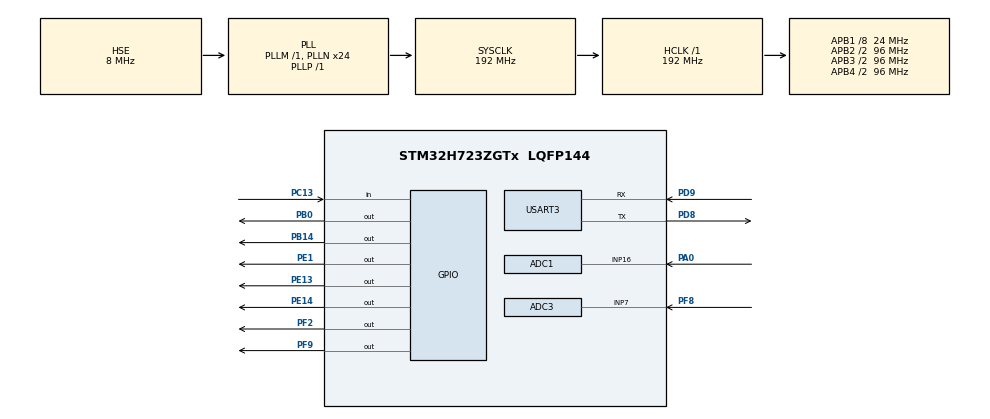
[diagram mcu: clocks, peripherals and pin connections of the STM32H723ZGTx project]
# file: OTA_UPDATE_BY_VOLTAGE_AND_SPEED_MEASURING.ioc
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ADC1.Channel-0\#ChannelRegularConversion=ADC_CHANNEL_16
ADC1.NbrOfConversionFlag=1
ADC1.OffsetNumber-0\#ChannelRegularConversion=ADC_OFFSET_NONE
ADC1.OffsetSignedSaturation-0\#ChannelRegularConversion=DISABLE
ADC1.Rank-0\#ChannelRegularConversion=1
ADC1.Resolution=ADC_RESOLUTION_12B
ADC1.SamplingTime-0\#ChannelRegularConversion=ADC_SAMPLETIME_64CYCLES_5
ADC1.master=1
ADC3.Channel-1\#ChannelRegularConversion=ADC_CHANNEL_VREFINT
ADC3.NbrOfConversionFlag=1
ADC3.OffsetNumber-1\#ChannelRegularConversion=ADC_OFFSET_NONE
ADC3.OffsetSign-1\#ChannelRegularConversion=ADC3_OFFSET_SIGN_NEGATIVE
ADC3.Rank-1\#ChannelRegularConversion=1
ADC3.SamplingTime-1\#ChannelRegularConversion=ADC3_SAMPLETIME_2CYCLES_5
CORTEX_M7.default_mode_Activation=1
Mcu.Family=STM32H7
Mcu.Name=STM32H723ZGTx
Mcu.Package=LQFP144
NUCLEO-H723ZG.BUTTON=1
NUCLEO-H723ZG.LD1=true
NUCLEO-H723ZG.LD2=true
NUCLEO-H723ZG.LD3=true
NVIC.EXTI15_10_IRQn=true\:0\:0\:false\:false\:true\:false\:true\:true
NVIC.PriorityGroup=NVIC_PRIORITYGROUP_4
NVIC.USART3_IRQn=true\:0\:0\:false\:false\:true\:true\:true\:true
PA0.Mode=IN16-Single-Ended
PA0.Signal=ADC1_INP16
PA13(JTMS/SWDIO).GPIO_Label=SWDIO
PA13(JTMS/SWDIO).Signal=DEBUG_JTMS-SWDIO
PA14(JTCK/SWCLK).GPIO_Label=SWCLK
PA14(JTCK/SWCLK).Signal=DEBUG_JTCK-SWCLK
PB0.Signal=GPIO_Output
PB14.Signal=GPIO_Output
PC13.Signal=GPIO_Input
PC14-OSC32_IN.Signal=RCC_OSC32_IN
PC15-OSC32_OUT.Signal=RCC_OSC32_OUT
PD8.GPIO_PuPd=GPIO_PULLUP
PD8.GPIO_Speed=GPIO_SPEED_FREQ_VERY_HIGH
PD8.Mode=Asynchronous
PD8.Signal=USART3_TX
PD9.GPIO_PuPd=GPIO_PULLUP
PD9.GPIO_Speed=GPIO_SPEED_FREQ_VERY_HIGH
PD9.Mode=Asynchronous
PD9.Signal=USART3_RX
PE1.Signal=GPIO_Output
PE13.Signal=GPIO_Output
PE14.Signal=GPIO_Output
PF2.Signal=GPIO_Output
PF8.Mode=IN7-Single-Ended
PF8.Signal=ADC3_INP7
PF9.Signal=GPIO_Output
PG11.Signal=ETH_TX_EN
PG13.Signal=ETH_TXD0
PH0-OSC_IN.Mode=HSE-External-Oscillator
PH0-OSC_IN.Signal=RCC_OSC_IN
PH1-OSC_OUT.Mode=HSE-External-Oscillator
PH1-OSC_OUT.Signal=RCC_OSC_OUT
ProjectManager.HeapSize=0x200
ProjectManager.StackSize=0x400
ProjectManager.TargetToolchain=STM32CubeIDE
RCC.ADCFreq_Value=38400000
RCC.APB1Freq_Value=24000000
RCC.APB2Freq_Value=96000000
RCC.APB3Freq_Value=96000000
RCC.APB4Freq_Value=96000000
RCC.CortexFreq_Value=192000000
RCC.D1PPRE=RCC_APB3_DIV2
RCC.D2PPRE1=RCC_APB1_DIV8
RCC.D2PPRE2=RCC_APB2_DIV2
RCC.D3PPRE=RCC_APB4_DIV2
RCC.DIVM1=1
RCC.DIVM2=1
RCC.DIVN1=24
RCC.DIVN2=24
RCC.DIVP1=1
RCC.DIVP2=5
RCC.DIVQ1=4
RCC.EnbaleCSS=true
RCC.HCLKFreq_Value=192000000
RCC.HSE_VALUE=8000000
RCC.PLL2FRACN=0
RCC.PLLFRACN=0
RCC.PLLSourceVirtual=RCC_PLLSOURCE_HSE
RCC.SYSCLKFreq_VALUE=192000000
RCC.SYSCLKSource=RCC_SYSCLKSOURCE_PLLCLK
RCC.USBCLockSelection=RCC_USBCLKSOURCE_HSI48
RCC.USBFreq_Value=48000000
USART3.VirtualMode-Asynchronous=VM_ASYNC
VP_ADC3_Vref_Input.Mode=IN-Vrefint
VP_MEMORYMAP_VS_MEMORYMAP.Mode=CurAppReg
VP_NUCLEO-H723ZG_VS_BSP_COMMON.Mode=COMMON
board=NUCLEO-H723ZG

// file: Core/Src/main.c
/* USER CODE BEGIN Header */
/**
  ******************************************************************************
  * @file           : main.c
  * @brief          : Main program body
  ******************************************************************************
  * @attention
  *
  * Copyright (c) 2026 STMicroelectronics.
  * All rights reserved.
  *
  * This software is licensed under terms that can be found in the LICENSE file
  * in the root directory of this software component.
  * If no LICENSE file comes with this software, it is provided AS-IS.
  *
  ******************************************************************************
  */
/* USER CODE END Header */
#include "main.h"

/* USER CODE BEGIN Includes */
#include <stdio.h>
#include <string.h>

#include "feature_engine.h"
#include "nvm_lite.h"
#include "motor_driver.h"
#include "window_controller.h"
/* USER CODE END Includes */

ADC_HandleTypeDef hadc1;
ADC_HandleTypeDef hadc3;

UART_HandleTypeDef huart3;

/* USER CODE BEGIN PV */
static uint32_t last_tick_ms = 0;

/* Safer UART receive buffers */
#define RX_BUF_SIZE 128
uint8_t  rx_buf[RX_BUF_SIZE];
uint16_t rx_idx = 0;
uint8_t  uart_rx_byte;
volatile uint8_t frame_active = 0; // Inside a '<...>' frame?
volatile uint8_t frame_ready  = 0; // A full frame was received

/* USER CODE END PV */

void SystemClock_Config(void);
void PeriphCommonClock_Config(void);
static void MPU_Config(void);
static void MX_GPIO_Init(void);
static void MX_ADC3_Init(void);
static void MX_USART3_UART_Init(void);
static void MX_ADC1_Init(void);

/* USER CODE BEGIN 0 */
/* === Feature enable handler ===*/
static feat_status_t on_antipinch_enable(const char *nonce, const char *rawName)
{
    (void)nonce; (void)rawName;

    /* 1) Mark runtime state */
    feature_mark_enabled_once_ci("ANTIPINCH");

    /* 2) Read latest record (ok if none) */
    nvm_record_t rec = {0};
    (void)nvm_read_latest(&rec);
    rec.feature_flags |= FEAT_ANTIPINCH_EN;

    /* 3) Persist to Flash */
    if (nvm_write(&rec) != HAL_OK) {
        const char *e = "NVM write failed\r\n";
        HAL_UART_Transmit(&huart3, (uint8_t*)e, strlen(e), 50);
        return FEAT_ERR;
    }

    const char *ok = "ANTIPINCH enabled (persisted)\r\n";
    HAL_UART_Transmit(&huart3, (uint8_t*)ok, strlen(ok), 50);

    return FEAT_OK;
}

static void restore_features_from_flash(void)
{
    if (nvm_init() != HAL_OK) {
        const char *e = "NVM init failed\r\n";
        HAL_UART_Transmit(&huart3, (uint8_t*)e, strlen(e), 50);
        return;
    }

    nvm_record_t rec = {0};
    if (nvm_read_latest(&rec) && (rec.feature_flags & FEAT_ANTIPINCH_EN)) {
        feature_mark_enabled_once_ci("ANTIPINCH");
        const char *m = "ANTIPINCH restored from Flash\r\n";
        HAL_UART_Transmit(&huart3, (uint8_t*)m, strlen(m), 50);
    } else {
        const char *m = "ANTIPINCH not set in Flash\r\n";
        HAL_UART_Transmit(&huart3, (uint8_t*)m, strlen(m), 50);
    }
}

/* USER CODE END 0 */

int main(void)
{

  /* MPU Configuration--------------------------------------------------------*/
  MPU_Config();

  /* MCU Configuration--------------------------------------------------------*/

  /* Reset of all peripherals, Initializes the Flash interface and the Systick. */
  HAL_Init();

  /* Configure the system clock */
  SystemClock_Config();

  /* Configure the peripherals common clocks */
  PeriphCommonClock_Config();

  /* USER CODE BEGIN SysInit */
  /* Initialize the feature engine */
  feature_engine_init();

  /* Register features (Option 2) */
  #if FE_USE_TABLE
  feature_register("ANTIPINCH", on_antipinch_enable);
  /* Accept aliases */
  feature_add_alias("ANTIPINCH", "ANTI-PINCH_WINDOWS");

  /* You can register others and   */
  #endif

  /* USER CODE END SysInit */

  /* Initialize all configured peripherals */
  MX_GPIO_Init();
  MX_ADC3_Init();
  MX_USART3_UART_Init();
  MX_ADC1_Init();
  /* USER CODE BEGIN 2 */
  /* === Modules Init === */
  motor_init();
  window_init();
  /* Restore persisted features */
  restore_features_from_flash();

  HAL_UART_Receive_IT(&huart3, &uart_rx_byte, 1);
  /* USER CODE END 2 */

  /* Initialize leds */
  BSP_LED_Init(LED_GREEN);
  BSP_LED_Init(LED_YELLOW);
  BSP_LED_Init(LED_RED);

  /* Initialize USER push-button, will be used to trigger an interrupt each time it's pressed.*/
  BSP_PB_Init(BUTTON_USER, BUTTON_MODE_EXTI);

  /* Infinite loop */
  /* USER CODE BEGIN WHILE */
  while (1)
  {
	  uint32_t now = HAL_GetTick();
	  if ((now - last_tick_ms) >= 100) {
	      last_tick_ms = now;
	      window_100ms_task();
	  }
	  /* Motor sync task */
	  window_motor_task();

	  if (frame_ready)
	  {
	      frame_ready = 0;

	      BSP_LED_On(LED_YELLOW);

	      char featureId[32] = {0};
	      char nonce[48] = {0};
	      char ack[96] = {0};

	      int parsed = sscanf((char*)rx_buf, "<ACT,%31[^,],%47[^>]>", featureId, nonce);

	      if (parsed == 2)
	      {
	    	feature_engine_handle_activation(featureId, nonce, ack, sizeof(ack));
	    	BSP_LED_On(LED_RED); /* indicate an ACK was produced */
	      }
          else {
	    	snprintf(ack, sizeof(ack), "<ACK,?,? ,ERROR_FORMAT>");
	      }

	      HAL_UART_Transmit(&huart3, (uint8_t*)ack, strlen(ack), 100);

	      rx_idx = 0;
	      memset(rx_buf, 0, sizeof(rx_buf));
	  }

    /* USER CODE END WHILE */

  }
}

void SystemClock_Config(void)
{
  RCC_OscInitTypeDef RCC_OscInitStruct = {0};
  RCC_ClkInitTypeDef RCC_ClkInitStruct = {0};

  /** Supply configuration update enable
  */
  HAL_PWREx_ConfigSupply(PWR_LDO_SUPPLY);

  /** Configure the main internal regulator output voltage
  */
  __HAL_PWR_VOLTAGESCALING_CONFIG(PWR_REGULATOR_VOLTAGE_SCALE1);

  while(!__HAL_PWR_GET_FLAG(PWR_FLAG_VOSRDY)) {}

  /** Initializes the RCC Oscillators according to the specified parameters
  * in the RCC_OscInitTypeDef structure.
  */
  RCC_OscInitStruct.OscillatorType = RCC_OSCILLATORTYPE_HSE;
  RCC_OscInitStruct.HSEState = RCC_HSE_ON;
  RCC_OscInitStruct.PLL.PLLState = RCC_PLL_ON;
  RCC_OscInitStruct.PLL.PLLSource = RCC_PLLSOURCE_HSE;
  RCC_OscInitStruct.PLL.PLLM = 1;
  RCC_OscInitStruct.PLL.PLLN = 24;
  RCC_OscInitStruct.PLL.PLLP = 1;
  RCC_OscInitStruct.PLL.PLLQ = 4;
  RCC_OscInitStruct.PLL.PLLR = 2;
  RCC_OscInitStruct.PLL.PLLRGE = RCC_PLL1VCIRANGE_3;
  RCC_OscInitStruct.PLL.PLLVCOSEL = RCC_PLL1VCOWIDE;
  RCC_OscInitStruct.PLL.PLLFRACN = 0;
  if (HAL_RCC_OscConfig(&RCC_OscInitStruct) != HAL_OK)
  {
    Error_Handler();
  }

  /** Initializes the CPU, AHB and APB buses clocks
  */
  RCC_ClkInitStruct.ClockType = RCC_CLOCKTYPE_HCLK|RCC_CLOCKTYPE_SYSCLK
                              |RCC_CLOCKTYPE_PCLK1|RCC_CLOCKTYPE_PCLK2
                              |RCC_CLOCKTYPE_D3PCLK1|RCC_CLOCKTYPE_D1PCLK1;
  RCC_ClkInitStruct.SYSCLKSource = RCC_SYSCLKSOURCE_PLLCLK;
  RCC_ClkInitStruct.SYSCLKDivider = RCC_SYSCLK_DIV1;
  RCC_ClkInitStruct.AHBCLKDivider = RCC_HCLK_DIV1;
  RCC_ClkInitStruct.APB3CLKDivider = RCC_APB3_DIV2;
  RCC_ClkInitStruct.APB1CLKDivider = RCC_APB1_DIV8;
  RCC_ClkInitStruct.APB2CLKDivider = RCC_APB2_DIV2;
  RCC_ClkInitStruct.APB4CLKDivider = RCC_APB4_DIV2;

  if (HAL_RCC_ClockConfig(&RCC_ClkInitStruct, FLASH_LATENCY_2) != HAL_OK)
  {
    Error_Handler();
  }

  /** Enables the Clock Security System
  */
  HAL_RCC_EnableCSS();
}

void PeriphCommonClock_Config(void)
{
  RCC_PeriphCLKInitTypeDef PeriphClkInitStruct = {0};

  /** Initializes the peripherals clock
  */
  PeriphClkInitStruct.PeriphClockSelection = RCC_PERIPHCLK_ADC;
  PeriphClkInitStruct.PLL2.PLL2M = 1;
  PeriphClkInitStruct.PLL2.PLL2N = 24;
  PeriphClkInitStruct.PLL2.PLL2P = 5;
  PeriphClkInitStruct.PLL2.PLL2Q = 2;
  PeriphClkInitStruct.PLL2.PLL2R = 2;
  PeriphClkInitStruct.PLL2.PLL2RGE = RCC_PLL2VCIRANGE_3;
  PeriphClkInitStruct.PLL2.PLL2VCOSEL = RCC_PLL2VCOWIDE;
  PeriphClkInitStruct.PLL2.PLL2FRACN = 0;
  PeriphClkInitStruct.AdcClockSelection = RCC_ADCCLKSOURCE_PLL2;
  if (HAL_RCCEx_PeriphCLKConfig(&PeriphClkInitStruct) != HAL_OK)
  {
    Error_Handler();
  }
}

static void MX_ADC1_Init(void)
{

  ADC_MultiModeTypeDef multimode = {0};
  ADC_ChannelConfTypeDef sConfig = {0};

  /** Common config
  */
  hadc1.Instance = ADC1;
  hadc1.Init.ClockPrescaler = ADC_CLOCK_ASYNC_DIV1;
  hadc1.Init.Resolution = ADC_RESOLUTION_12B;
  hadc1.Init.ScanConvMode = ADC_SCAN_DISABLE;
  hadc1.Init.EOCSelection = ADC_EOC_SINGLE_CONV;
  hadc1.Init.LowPowerAutoWait = DISABLE;
  hadc1.Init.ContinuousConvMode = DISABLE;
  hadc1.Init.NbrOfConversion = 1;
  hadc1.Init.DiscontinuousConvMode = DISABLE;
  hadc1.Init.ExternalTrigConv = ADC_SOFTWARE_START;
  hadc1.Init.ExternalTrigConvEdge = ADC_EXTERNALTRIGCONVEDGE_NONE;
  hadc1.Init.ConversionDataManagement = ADC_CONVERSIONDATA_DR;
  hadc1.Init.Overrun = ADC_OVR_DATA_PRESERVED;
  hadc1.Init.LeftBitShift = ADC_LEFTBITSHIFT_NONE;
  hadc1.Init.OversamplingMode = DISABLE;
  hadc1.Init.Oversampling.Ratio = 1;
  if (HAL_ADC_Init(&hadc1) != HAL_OK)
  {
    Error_Handler();
  }

  /** Configure the ADC multi-mode
  */
  multimode.Mode = ADC_MODE_INDEPENDENT;
  if (HAL_ADCEx_MultiModeConfigChannel(&hadc1, &multimode) != HAL_OK)
  {
    Error_Handler();
  }

  /** Configure Regular Channel
  */
  sConfig.Channel = ADC_CHANNEL_16;
  sConfig.Rank = ADC_REGULAR_RANK_1;
  sConfig.SamplingTime = ADC_SAMPLETIME_64CYCLES_5;
  sConfig.SingleDiff = ADC_SINGLE_ENDED;
  sConfig.OffsetNumber = ADC_OFFSET_NONE;
  sConfig.Offset = 0;
  sConfig.OffsetSignedSaturation = DISABLE;
  if (HAL_ADC_ConfigChannel(&hadc1, &sConfig) != HAL_OK)
  {
    Error_Handler();
  }

}

static void MX_ADC3_Init(void)
{

  ADC_ChannelConfTypeDef sConfig = {0};

  /** Common config
  */
  hadc3.Instance = ADC3;
  hadc3.Init.ClockPrescaler = ADC_CLOCK_ASYNC_DIV1;
  hadc3.Init.Resolution = ADC_RESOLUTION_12B;
  hadc3.Init.DataAlign = ADC3_DATAALIGN_RIGHT;
  hadc3.Init.ScanConvMode = ADC_SCAN_DISABLE;
  hadc3.Init.EOCSelection = ADC_EOC_SINGLE_CONV;
  hadc3.Init.LowPowerAutoWait = DISABLE;
  hadc3.Init.ContinuousConvMode = DISABLE;
  hadc3.Init.NbrOfConversion = 1;
  hadc3.Init.DiscontinuousConvMode = DISABLE;
  hadc3.Init.ExternalTrigConv = ADC_SOFTWARE_START;
  hadc3.Init.ExternalTrigConvEdge = ADC_EXTERNALTRIGCONVEDGE_NONE;
  hadc3.Init.DMAContinuousRequests = DISABLE;
  hadc3.Init.SamplingMode = ADC_SAMPLING_MODE_NORMAL;
  hadc3.Init.ConversionDataManagement = ADC_CONVERSIONDATA_DR;
  hadc3.Init.Overrun = ADC_OVR_DATA_PRESERVED;
  hadc3.Init.LeftBitShift = ADC_LEFTBITSHIFT_NONE;
  hadc3.Init.OversamplingMode = DISABLE;
  hadc3.Init.Oversampling.Ratio = ADC3_OVERSAMPLING_RATIO_2;
  if (HAL_ADC_Init(&hadc3) != HAL_OK)
  {
    Error_Handler();
  }

  /** Configure Regular Channel
  */
  sConfig.Channel = ADC_CHANNEL_VREFINT;
  sConfig.Rank = ADC_REGULAR_RANK_1;
  sConfig.SamplingTime = ADC3_SAMPLETIME_2CYCLES_5;
  sConfig.SingleDiff = ADC_SINGLE_ENDED;
  sConfig.OffsetNumber = ADC_OFFSET_NONE;
  sConfig.Offset = 0;
  sConfig.OffsetSign = ADC3_OFFSET_SIGN_NEGATIVE;
  if (HAL_ADC_ConfigChannel(&hadc3, &sConfig) != HAL_OK)
  {
    Error_Handler();
  }

}

static void MX_USART3_UART_Init(void)
{

  huart3.Instance = USART3;
  huart3.Init.BaudRate = 115200;
  huart3.Init.WordLength = UART_WORDLENGTH_8B;
  huart3.Init.StopBits = UART_STOPBITS_1;
  huart3.Init.Parity = UART_PARITY_NONE;
  huart3.Init.Mode = UART_MODE_TX_RX;
  huart3.Init.HwFlowCtl = UART_HWCONTROL_NONE;
  huart3.Init.OverSampling = UART_OVERSAMPLING_16;
  huart3.Init.OneBitSampling = UART_ONE_BIT_SAMPLE_DISABLE;
  huart3.Init.ClockPrescaler = UART_PRESCALER_DIV1;
  huart3.AdvancedInit.AdvFeatureInit = UART_ADVFEATURE_NO_INIT;
  if (HAL_UART_Init(&huart3) != HAL_OK)
  {
    Error_Handler();
  }
  if (HAL_UARTEx_SetTxFifoThreshold(&huart3, UART_TXFIFO_THRESHOLD_1_8) != HAL_OK)
  {
    Error_Handler();
  }
  if (HAL_UARTEx_SetRxFifoThreshold(&huart3, UART_RXFIFO_THRESHOLD_1_8) != HAL_OK)
  {
    Error_Handler();
  }
  if (HAL_UARTEx_DisableFifoMode(&huart3) != HAL_OK)
  {
    Error_Handler();
  }

}

static void MX_GPIO_Init(void)
{
  GPIO_InitTypeDef GPIO_InitStruct = {0};

  /* GPIO Ports Clock Enable */
  __HAL_RCC_GPIOC_CLK_ENABLE();
  __HAL_RCC_GPIOF_CLK_ENABLE();
  __HAL_RCC_GPIOH_CLK_ENABLE();
  __HAL_RCC_GPIOA_CLK_ENABLE();
  __HAL_RCC_GPIOE_CLK_ENABLE();
  __HAL_RCC_GPIOD_CLK_ENABLE();
  __HAL_RCC_GPIOG_CLK_ENABLE();

  /*Configure GPIO pin Output Level */
  HAL_GPIO_WritePin(GPIOF, GPIO_PIN_2|GPIO_PIN_9, GPIO_PIN_RESET);

  /*Configure GPIO pin Output Level */
  HAL_GPIO_WritePin(GPIOE, GPIO_PIN_13|GPIO_PIN_14, GPIO_PIN_RESET);

  /*Configure GPIO pins : PF2 PF9 */
  GPIO_InitStruct.Pin = GPIO_PIN_2|GPIO_PIN_9;
  GPIO_InitStruct.Mode = GPIO_MODE_OUTPUT_PP;
  GPIO_InitStruct.Pull = GPIO_NOPULL;
  GPIO_InitStruct.Speed = GPIO_SPEED_FREQ_LOW;
  HAL_GPIO_Init(GPIOF, &GPIO_InitStruct);

  /*Configure GPIO pins : PE13 PE14 */
  GPIO_InitStruct.Pin = GPIO_PIN_13|GPIO_PIN_14;
  GPIO_InitStruct.Mode = GPIO_MODE_OUTPUT_PP;
  GPIO_InitStruct.Pull = GPIO_NOPULL;
  GPIO_InitStruct.Speed = GPIO_SPEED_FREQ_LOW;
  HAL_GPIO_Init(GPIOE, &GPIO_InitStruct);

  /*Configure GPIO pins : PG11 PG13 */
  GPIO_InitStruct.Pin = GPIO_PIN_11|GPIO_PIN_13;
  GPIO_InitStruct.Mode = GPIO_MODE_AF_PP;
  GPIO_InitStruct.Pull = GPIO_NOPULL;
  GPIO_InitStruct.Speed = GPIO_SPEED_FREQ_LOW;
  GPIO_InitStruct.Alternate = GPIO_AF11_ETH;
  HAL_GPIO_Init(GPIOG, &GPIO_InitStruct);

}

/* USER CODE BEGIN 4 */
static inline void rx_reset_state(void) { frame_active = 0; rx_idx = 0; }

void HAL_UART_RxCpltCallback(UART_HandleTypeDef *huart)
{
    if (huart->Instance != USART3) return;

    const char c = (char)uart_rx_byte;

    if (!frame_active) {
        if (c == '<')
        {
        	frame_active = 1;
        	rx_idx = 0;
        	rx_buf[rx_idx++] = (uint8_t)c;
        }
    } else {
        if (c == '>') {
            if (rx_idx < RX_BUF_SIZE - 1) {
                rx_buf[rx_idx++] = (uint8_t)c;
                rx_buf[rx_idx]   = '\0';
                frame_ready = 1;
            }
            frame_active = 0;
        } else {
            if (rx_idx < RX_BUF_SIZE - 1) rx_buf[rx_idx++] = (uint8_t)c;
            else rx_reset_state(); // overflow: drop frame
        }
    }

    HAL_UART_Receive_IT(&huart3, &uart_rx_byte, 1);
}

// This overrides the weak BSP callback
void BSP_PB_Callback(Button_TypeDef Button)
{
    if (Button == BUTTON_USER)
    {
    	window_user_button_pressed();
    }
}
/* USER CODE END 4 */

 /* MPU Configuration */

void MPU_Config(void)
{
  MPU_Region_InitTypeDef MPU_InitStruct = {0};

  /* Disables the MPU */
  HAL_MPU_Disable();

  /** Initializes and configures the Region and the memory to be protected
  */
  MPU_InitStruct.Enable = MPU_REGION_ENABLE;
  MPU_InitStruct.Number = MPU_REGION_NUMBER0;
  MPU_InitStruct.BaseAddress = 0x0;
  MPU_InitStruct.Size = MPU_REGION_SIZE_4GB;
  MPU_InitStruct.SubRegionDisable = 0x87;
  MPU_InitStruct.TypeExtField = MPU_TEX_LEVEL0;
  MPU_InitStruct.AccessPermission = MPU_REGION_NO_ACCESS;
  MPU_InitStruct.DisableExec = MPU_INSTRUCTION_ACCESS_DISABLE;
  MPU_InitStruct.IsShareable = MPU_ACCESS_SHAREABLE;
  MPU_InitStruct.IsCacheable = MPU_ACCESS_NOT_CACHEABLE;
  MPU_InitStruct.IsBufferable = MPU_ACCESS_NOT_BUFFERABLE;

  HAL_MPU_ConfigRegion(&MPU_InitStruct);
  /* Enables the MPU */
  HAL_MPU_Enable(MPU_PRIVILEGED_DEFAULT);

}

void Error_Handler(void)
{
  __disable_irq();
  while (1)
  {
  }
}
